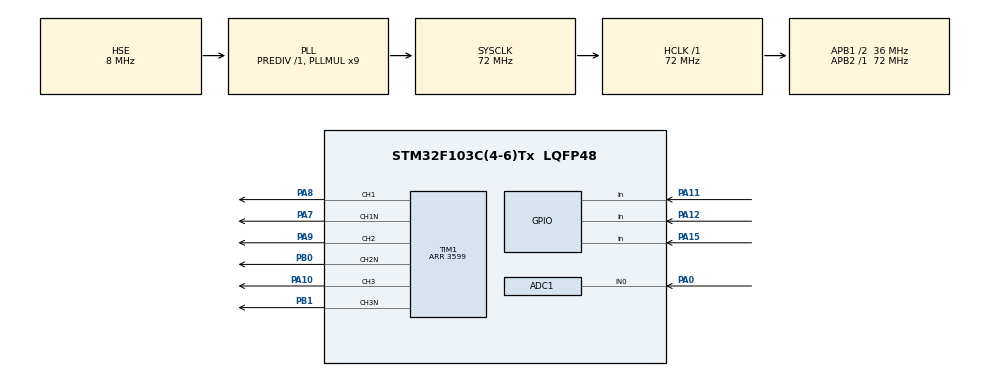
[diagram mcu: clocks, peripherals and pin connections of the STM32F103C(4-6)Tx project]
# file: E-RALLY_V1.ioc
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ADC1.Channel-1\#ChannelRegularConversion=ADC_CHANNEL_0
ADC1.ContinuousConvMode=ENABLE
ADC1.DataAlign=ADC_DATAALIGN_RIGHT
ADC1.NbrOfConversion=1
ADC1.NbrOfConversionFlag=1
ADC1.Rank-1\#ChannelRegularConversion=1
ADC1.SamplingTime-1\#ChannelRegularConversion=ADC_SAMPLETIME_239CYCLES_5
ADC1.master=1
Mcu.Family=STM32F1
Mcu.Name=STM32F103C(4-6)Tx
Mcu.Package=LQFP48
NVIC.PriorityGroup=NVIC_PRIORITYGROUP_4
PA0-WKUP.Signal=ADCx_IN0
PA10.Signal=S_TIM1_CH3
PA11.GPIO_PuPd=GPIO_PULLUP
PA11.Signal=GPIO_Input
PA12.GPIO_PuPd=GPIO_PULLUP
PA12.Signal=GPIO_Input
PA13.Mode=Serial_Wire
PA13.Signal=SYS_JTMS-SWDIO
PA14.Mode=Serial_Wire
PA14.Signal=SYS_JTCK-SWCLK
PA15.GPIO_PuPd=GPIO_PULLUP
PA15.Signal=GPIO_Input
PA7.Mode=PWM Generation1 CH1 CH1N
PA7.Signal=TIM1_CH1N
PA8.Signal=S_TIM1_CH1
PA9.Signal=S_TIM1_CH2
PB0.Mode=PWM Generation2 CH2 CH2N
PB0.Signal=TIM1_CH2N
PB1.Mode=PWM Generation3 CH3 CH3N
PB1.Signal=TIM1_CH3N
PD0-OSC_IN.Mode=HSE-External-Oscillator
PD0-OSC_IN.Signal=RCC_OSC_IN
PD1-OSC_OUT.Mode=HSE-External-Oscillator
PD1-OSC_OUT.Signal=RCC_OSC_OUT
ProjectManager.HeapSize=0x200
ProjectManager.StackSize=0x400
ProjectManager.TargetToolchain=STM32CubeIDE
RCC.ADCPresc=RCC_ADCPCLK2_DIV6
RCC.AHBFreq_Value=72000000
RCC.APB1CLKDivider=RCC_HCLK_DIV2
RCC.APB1Freq_Value=36000000
RCC.APB1TimFreq_Value=72000000
RCC.APB2Freq_Value=72000000
RCC.APB2TimFreq_Value=72000000
RCC.HCLKFreq_Value=72000000
RCC.PLLMUL=RCC_PLL_MUL9
RCC.PLLSourceVirtual=RCC_PLLSOURCE_HSE
RCC.SYSCLKFreq_VALUE=72000000
RCC.SYSCLKSource=RCC_SYSCLKSOURCE_PLLCLK
RCC.USBFreq_Value=72000000
SH.ADCx_IN0.0=ADC1_IN0,IN0
SH.S_TIM1_CH1.0=TIM1_CH1,PWM Generation1 CH1 CH1N
SH.S_TIM1_CH2.0=TIM1_CH2,PWM Generation2 CH2 CH2N
SH.S_TIM1_CH3.0=TIM1_CH3,PWM Generation3 CH3 CH3N
TIM1.Channel-PWM\ Generation1\ CH1\ CH1N=TIM_CHANNEL_1
TIM1.Channel-PWM\ Generation2\ CH2\ CH2N=TIM_CHANNEL_2
TIM1.Channel-PWM\ Generation3\ CH3\ CH3N=TIM_CHANNEL_3
TIM1.OCNPolarity_1=TIM_OCNPOLARITY_HIGH
TIM1.OCNPolarity_2=TIM_OCNPOLARITY_HIGH
TIM1.Period=3599
TIM2.Prescaler=71
VP_TIM2_VS_ClockSourceINT.Mode=Internal
board=custom

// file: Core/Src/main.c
/* USER CODE BEGIN Header */
/**
  ******************************************************************************
  * @file           : main.c
  * @brief          : Main program body
  ******************************************************************************
  * @attention
  *
  * Copyright (c) 2025 STMicroelectronics.
  * All rights reserved.
  *
  * This software is licensed under terms that can be found in the LICENSE file
  * in the root directory of this software component.
  * If no LICENSE file comes with this software, it is provided AS-IS.
  *
  ******************************************************************************
  */
/* USER CODE END Header */
#include "main.h"

/* USER CODE BEGIN Includes */

// Macros For 6 Timer Channels to be more readable
#define PHASE_A TIM_CHANNEL_1
#define PHASE_B TIM_CHANNEL_2
#define PHASE_C TIM_CHANNEL_3
// Macros for Throttle Range
#define MIN_THROTTLE 0
#define MAX_THROTTLE 3560
// Macros For PWM Signal Range
#define MAX_PWM 3599
#define MIN_PWM 0
/*
 * Macro For indicating the value at which the Low turns zero
 * 0 -> duty ( O/P = 0), duty -> LOW ( O/P = 1 )
 */
#define LOW 3599
// Macro For Dead Time Period
#define DEADTIME_DELAY 20 // Real Deadtime in microsecond
// Macro For indicating that Hall in invalid state to avoid any damage
#define INVALID_STATE 255
// Macro for Filter Size of ADC
#define ADC_FILTER_SIZE   254  // Size of the moving average window
// Static Global Variables for ADC Filter
static uint16_t adcSamples[ADC_FILTER_SIZE];
static uint8_t  adcIndex = 0;

/* USER CODE END Includes */

/* USER CODE BEGIN PD */
// Global Variables For Debugging
uint8_t  HALL_GLOBAL = 0;
uint16_t ADC_BEFORE_SAMPLING = 0;
uint16_t ADC_AFTER_SAMPLING = 0;
uint16_t ADC_MAPPING = 0;
// Global Variable For Motor Position
uint8_t  Recent_state = 0;
uint8_t  Prev_state = INVALID_STATE;
/* USER CODE END PD */

ADC_HandleTypeDef hadc1;

TIM_HandleTypeDef htim1;
TIM_HandleTypeDef htim2;

void SystemClock_Config(void);
static void MX_GPIO_Init(void);
static void MX_TIM1_Init(void);
static void MX_ADC1_Init(void);
static void MX_TIM2_Init(void);

/* USER CODE BEGIN 0 */

uint8_t Read_Hall_Sensors(void)
{
	// Read Hall Sensors FeedBack Signal
	uint8_t h3= HAL_GPIO_ReadPin(GPIOA, GPIO_PIN_11);
	uint8_t h2= HAL_GPIO_ReadPin(GPIOA, GPIO_PIN_12);
	uint8_t h1= HAL_GPIO_ReadPin(GPIOA, GPIO_PIN_15);
	// Shift Values to be in one variable for Checking
	uint8_t hall_value = h3<<2 | h2<<1 | h1<<0;
	// Check Values of Hall Sensor Reading ( For Debugging )
	HALL_GLOBAL = hall_value;
	return hall_value;
}

//void CheckState(uint16_t duty)
//{
//	if (duty > 3599) {
//		duty = 3599; // Clamp near 100% duty to avoid bootstrap capacitor issues
//	}
//	Recent_state = hallState;
//
//	if (Recent_state != Prev_state || Recent_state == INVALID_STATE) {
//		safeDisableOutputs(); // Unified handling for state change or invalid state
//		if (new_state != INVALID_STATE) {
//			old_state = hallState; // Only update old_state if valid
//		}
//	}
//}

void Disable_Switches()
{
	TIM1->CCR1 = 0;
	TIM1->CCR2 = 0;
	TIM1->CCR3 = 0;

	HAL_TIM_PWM_Stop(&htim1, PHASE_A);  // A_HIGH A8
	HAL_TIM_PWM_Stop(&htim1, PHASE_B);  // B_HIGH A9
	HAL_TIM_PWM_Stop(&htim1, PHASE_C);  // C_HIGH A10

	HAL_TIMEx_PWMN_Stop(&htim1, PHASE_A); // A_LOW A7
	HAL_TIMEx_PWMN_Stop(&htim1, PHASE_B); // B_LOW B0
	HAL_TIMEx_PWMN_Stop(&htim1, PHASE_C); // C_LOW B1
}

uint16_t Throttle_mapping(uint16_t Value, uint16_t ADC_Min, uint16_t ADC_Max, uint16_t Min_PWM, uint16_t Max_PWM)
{
	if(Value > ADC_Max)
	{
		Value = ADC_Max;
	}
	else if (Value < ADC_Min)
	{
		Value = ADC_Min;
	}
	return (uint16_t)((Value - ADC_Min) * (Max_PWM - Min_PWM) / (ADC_Max - ADC_Min) + Min_PWM);
}

void Step1(uint16_t duty)
{
	TIM1->CCR1 = duty; // A
	TIM1->CCR2 = LOW;  // B
	TIM1->CCR3 = 0;    // C

	HAL_TIM_PWM_Start(&htim1, PHASE_A); 	  // A_HIGH A8

	HAL_TIMEx_PWMN_Start(&htim1, PHASE_B);    // B_LOW B0
}
void Step2(uint16_t duty)
{
	TIM1->CCR1 = duty;   // A
	TIM1->CCR2 = 0;      // B
	TIM1->CCR3 = LOW;    // C

	HAL_TIM_PWM_Start(&htim1, PHASE_A);       // A_HIGH A0

	HAL_TIMEx_PWMN_Start(&htim1, PHASE_C);    // C_LOW B1
}
void Step3(uint16_t duty)
{
	TIM1->CCR1 = 0;      // A
	TIM1->CCR2 = duty;   // B
	TIM1->CCR3 = LOW;    // C

	HAL_TIM_PWM_Start(&htim1, PHASE_B);       // B_HIGH A1

	HAL_TIMEx_PWMN_Start(&htim1, PHASE_C);    // C_LOW B1
}
void Step4(uint16_t duty)
{
	TIM1->CCR1 = LOW;      // A
	TIM1->CCR2 = duty;     // B
	TIM1->CCR3 = 0;        // C

	HAL_TIM_PWM_Start(&htim1, PHASE_B);  // B_HIGH A1

	HAL_TIMEx_PWMN_Start(&htim1, PHASE_A);   // A_LOW A7

}
void Step5(uint16_t duty)
{
	TIM1->CCR1 = LOW;      // A
	TIM1->CCR2 = 0;        // B
	TIM1->CCR3 = duty;     // C

	HAL_TIM_PWM_Start(&htim1, PHASE_C);  // C_HIGH A2

	HAL_TIMEx_PWMN_Start(&htim1, PHASE_A);     // A_LOW A7

}
void Step6(uint16_t duty)
{
	TIM1->CCR1 = 0;        // A
	TIM1->CCR2 = LOW;      // B
	TIM1->CCR3 = duty;     // C

	HAL_TIM_PWM_Start(&htim1, PHASE_C);  // C_HIGH A2

	HAL_TIMEx_PWMN_Start(&htim1, PHASE_B);     // B_LOW A6
}

// Assumes 72 MHz system clock
void deadTimeDelay(uint32_t us) {
	__HAL_TIM_SET_COUNTER(&htim2, 0); // Reset the timer counter
	while (__HAL_TIM_GET_COUNTER(&htim2) < us); // Wait until the counter reaches the delay value
}

void safeDisableOutputs(uint16_t DeadTime)
{
	Disable_Switches();
//	HAL_Delay(500);
	deadTimeDelay(DeadTime);
}

void Control_BLDC(uint8_t hall, uint16_t ADC_TO_PWM)
{
	  switch (hall)
	  {
	    case 0b101:  // Hall = 5 → Step1
	      Step1(ADC_TO_PWM);
	      break;
	    case 0b100:  // Step2
	      Step2(ADC_TO_PWM);
	      break;
	    case 0b110:  // Step3
	      Step3(ADC_TO_PWM);
	      break;
	    case 0b010:  // Step4
	      Step4(ADC_TO_PWM);
	      break;
	    case 0b011:  // Step5
	      Step5(ADC_TO_PWM);
	      break;
	    case 0b001:  // Step6
	      Step6(ADC_TO_PWM);
	      break;
	    default:
	    	 Disable_Switches();
	      break;
	  }
	  // Disable Switches for Dead Time to make sure that High & Low of each phase won't open together ( For Safety )
//	  safeDisableOutputs(DEADTIME_DELAY);
}

uint16_t ADC_Sampling(uint16_t ADC_Before)
{
	// Insert new sample into moving-average buffer
	adcSamples[adcIndex] = ADC_Before;
	adcIndex = (adcIndex + 1) % ADC_FILTER_SIZE;

	// Compute average of the buffer
	uint32_t sum = 0;
	for(uint16_t i = 0; i < ADC_FILTER_SIZE; i++) {
		sum += adcSamples[i];
	}
	return (uint16_t)(sum / ADC_FILTER_SIZE);
}

uint16_t StartADC(uint32_t TimeOut)
{
	// Start and Convert Analog Throttle Signal To Digital To be handled
	HAL_ADC_Start(&hadc1);
	HAL_ADC_PollForConversion(&hadc1, TimeOut);
	return HAL_ADC_GetValue(&hadc1);
}

void CheckState(uint8_t HALL_State)
{
	  if( Recent_state != Prev_state || Recent_state == INVALID_STATE )
	  {
		  safeDisableOutputs(DEADTIME_DELAY); // Unified handling for state change or invalid state
		  if(Recent_state != INVALID_STATE)
		  {
			  Prev_state = HALL_State; // Only update old_state if valid
		  }
	  }
}

/* USER CODE END 0 */

int main(void)
{

  /* MCU Configuration--------------------------------------------------------*/

  /* Reset of all peripherals, Initializes the Flash interface and the Systick. */
  HAL_Init();

  /* Configure the system clock */
  SystemClock_Config();

  /* Initialize all configured peripherals */
  MX_GPIO_Init();
  MX_TIM1_Init();
  MX_ADC1_Init();
  MX_TIM2_Init();
  /* USER CODE BEGIN 2 */
  uint16_t ADCValue;
  uint16_t AdcMapp;
  uint16_t ADC_Sampled;
  uint8_t hall;
  /* USER CODE END 2 */

  /* Infinite loop */
  /* USER CODE BEGIN WHILE */
  while (1)
  {
	  // Start and read ADC (once)
	  ADCValue = StartADC(100);
	  // Check Values of ADC Before Sampling ( For Debugging )
	  ADC_BEFORE_SAMPLING = ADCValue;
	  //Sample / Filter The ADC Values to check the best one and reduce the noise
	  ADC_Sampled = ADC_Sampling(ADCValue);
	  // Check That Max & Min Values of sampled within Range of Throttle
	  if(ADC_Sampled < MIN_THROTTLE)
	  {
		  ADC_Sampled = MIN_THROTTLE;
	  }
	  if (ADC_Sampled > MAX_THROTTLE)
	  {
		  ADC_Sampled = MAX_THROTTLE;
	  }
	  // Check Values of ADC After Sampling ( For Debugging )
	  ADC_AFTER_SAMPLING = ADC_Sampled;
	  // Mapping the Throttle Value from Throttle Rang to Used PWM Range To Control Duty Cycle of PWM
	  AdcMapp = Throttle_mapping(ADC_Sampled, MIN_THROTTLE, MAX_THROTTLE, MIN_PWM, MAX_PWM);
	  // Check Values of Throttle Mapping ( For Debugging )
	  ADC_MAPPING = AdcMapp;
	  // Read Hall Sensor State ( Hall Sensor Feedback )
	  hall = Read_Hall_Sensors();
	  Recent_state = hall;
	  // Check Hall State
	  CheckState(hall);
	  /*
	   * ControlLing BLDC Motor By using two parameters ( Arguments )
	   * AdcMapp -> Control the speed of Motor and the switching of each MOSFETS
	   * hall -> FeedBack of Hall indicate the rotor position to take the right action ( Step ) to control motor
	   *
	   */
	  Control_BLDC(hall, AdcMapp);

    /* USER CODE END WHILE */

  }
}

void SystemClock_Config(void)
{
  RCC_OscInitTypeDef RCC_OscInitStruct = {0};
  RCC_ClkInitTypeDef RCC_ClkInitStruct = {0};
  RCC_PeriphCLKInitTypeDef PeriphClkInit = {0};

  /** Initializes the RCC Oscillators according to the specified parameters
  * in the RCC_OscInitTypeDef structure.
  */
  RCC_OscInitStruct.OscillatorType = RCC_OSCILLATORTYPE_HSE;
  RCC_OscInitStruct.HSEState = RCC_HSE_ON;
  RCC_OscInitStruct.HSEPredivValue = RCC_HSE_PREDIV_DIV1;
  RCC_OscInitStruct.HSIState = RCC_HSI_ON;
  RCC_OscInitStruct.PLL.PLLState = RCC_PLL_ON;
  RCC_OscInitStruct.PLL.PLLSource = RCC_PLLSOURCE_HSE;
  RCC_OscInitStruct.PLL.PLLMUL = RCC_PLL_MUL9;
  if (HAL_RCC_OscConfig(&RCC_OscInitStruct) != HAL_OK)
  {
    Error_Handler();
  }

  /** Initializes the CPU, AHB and APB buses clocks
  */
  RCC_ClkInitStruct.ClockType = RCC_CLOCKTYPE_HCLK|RCC_CLOCKTYPE_SYSCLK
                              |RCC_CLOCKTYPE_PCLK1|RCC_CLOCKTYPE_PCLK2;
  RCC_ClkInitStruct.SYSCLKSource = RCC_SYSCLKSOURCE_PLLCLK;
  RCC_ClkInitStruct.AHBCLKDivider = RCC_SYSCLK_DIV1;
  RCC_ClkInitStruct.APB1CLKDivider = RCC_HCLK_DIV2;
  RCC_ClkInitStruct.APB2CLKDivider = RCC_HCLK_DIV1;

  if (HAL_RCC_ClockConfig(&RCC_ClkInitStruct, FLASH_LATENCY_2) != HAL_OK)
  {
    Error_Handler();
  }
  PeriphClkInit.PeriphClockSelection = RCC_PERIPHCLK_ADC;
  PeriphClkInit.AdcClockSelection = RCC_ADCPCLK2_DIV6;
  if (HAL_RCCEx_PeriphCLKConfig(&PeriphClkInit) != HAL_OK)
  {
    Error_Handler();
  }
}

static void MX_ADC1_Init(void)
{

  ADC_ChannelConfTypeDef sConfig = {0};

  /** Common config
  */
  hadc1.Instance = ADC1;
  hadc1.Init.ScanConvMode = ADC_SCAN_DISABLE;
  hadc1.Init.ContinuousConvMode = ENABLE;
  hadc1.Init.DiscontinuousConvMode = DISABLE;
  hadc1.Init.ExternalTrigConv = ADC_SOFTWARE_START;
  hadc1.Init.DataAlign = ADC_DATAALIGN_RIGHT;
  hadc1.Init.NbrOfConversion = 1;
  if (HAL_ADC_Init(&hadc1) != HAL_OK)
  {
    Error_Handler();
  }

  /** Configure Regular Channel
  */
  sConfig.Channel = ADC_CHANNEL_0;
  sConfig.Rank = ADC_REGULAR_RANK_1;
  sConfig.SamplingTime = ADC_SAMPLETIME_239CYCLES_5;
  if (HAL_ADC_ConfigChannel(&hadc1, &sConfig) != HAL_OK)
  {
    Error_Handler();
  }

}

static void MX_TIM1_Init(void)
{

  TIM_MasterConfigTypeDef sMasterConfig = {0};
  TIM_OC_InitTypeDef sConfigOC = {0};
  TIM_BreakDeadTimeConfigTypeDef sBreakDeadTimeConfig = {0};

  htim1.Instance = TIM1;
  htim1.Init.Prescaler = 0;
  htim1.Init.CounterMode = TIM_COUNTERMODE_UP;
  htim1.Init.Period = 3599;
  htim1.Init.ClockDivision = TIM_CLOCKDIVISION_DIV1;
  htim1.Init.RepetitionCounter = 0;
  htim1.Init.AutoReloadPreload = TIM_AUTORELOAD_PRELOAD_DISABLE;
  if (HAL_TIM_PWM_Init(&htim1) != HAL_OK)
  {
    Error_Handler();
  }
  sMasterConfig.MasterOutputTrigger = TIM_TRGO_RESET;
  sMasterConfig.MasterSlaveMode = TIM_MASTERSLAVEMODE_DISABLE;
  if (HAL_TIMEx_MasterConfigSynchronization(&htim1, &sMasterConfig) != HAL_OK)
  {
    Error_Handler();
  }
  sConfigOC.OCMode = TIM_OCMODE_PWM1;
  sConfigOC.Pulse = 0;
  sConfigOC.OCPolarity = TIM_OCPOLARITY_HIGH;
  sConfigOC.OCNPolarity = TIM_OCNPOLARITY_HIGH;
  sConfigOC.OCFastMode = TIM_OCFAST_DISABLE;
  sConfigOC.OCIdleState = TIM_OCIDLESTATE_RESET;
  sConfigOC.OCNIdleState = TIM_OCNIDLESTATE_RESET;
  if (HAL_TIM_PWM_ConfigChannel(&htim1, &sConfigOC, TIM_CHANNEL_1) != HAL_OK)
  {
    Error_Handler();
  }
  if (HAL_TIM_PWM_ConfigChannel(&htim1, &sConfigOC, TIM_CHANNEL_2) != HAL_OK)
  {
    Error_Handler();
  }
  if (HAL_TIM_PWM_ConfigChannel(&htim1, &sConfigOC, TIM_CHANNEL_3) != HAL_OK)
  {
    Error_Handler();
  }
  sBreakDeadTimeConfig.OffStateRunMode = TIM_OSSR_DISABLE;
  sBreakDeadTimeConfig.OffStateIDLEMode = TIM_OSSI_DISABLE;
  sBreakDeadTimeConfig.LockLevel = TIM_LOCKLEVEL_OFF;
  sBreakDeadTimeConfig.DeadTime = 0;
  sBreakDeadTimeConfig.BreakState = TIM_BREAK_DISABLE;
  sBreakDeadTimeConfig.BreakPolarity = TIM_BREAKPOLARITY_HIGH;
  sBreakDeadTimeConfig.AutomaticOutput = TIM_AUTOMATICOUTPUT_DISABLE;
  if (HAL_TIMEx_ConfigBreakDeadTime(&htim1, &sBreakDeadTimeConfig) != HAL_OK)
  {
    Error_Handler();
  }
  HAL_TIM_MspPostInit(&htim1);

}

static void MX_TIM2_Init(void)
{

  TIM_ClockConfigTypeDef sClockSourceConfig = {0};
  TIM_MasterConfigTypeDef sMasterConfig = {0};

  htim2.Instance = TIM2;
  htim2.Init.Prescaler = 71;
  htim2.Init.CounterMode = TIM_COUNTERMODE_UP;
  htim2.Init.Period = 65535;
  htim2.Init.ClockDivision = TIM_CLOCKDIVISION_DIV1;
  htim2.Init.AutoReloadPreload = TIM_AUTORELOAD_PRELOAD_DISABLE;
  if (HAL_TIM_Base_Init(&htim2) != HAL_OK)
  {
    Error_Handler();
  }
  sClockSourceConfig.ClockSource = TIM_CLOCKSOURCE_INTERNAL;
  if (HAL_TIM_ConfigClockSource(&htim2, &sClockSourceConfig) != HAL_OK)
  {
    Error_Handler();
  }
  sMasterConfig.MasterOutputTrigger = TIM_TRGO_RESET;
  sMasterConfig.MasterSlaveMode = TIM_MASTERSLAVEMODE_DISABLE;
  if (HAL_TIMEx_MasterConfigSynchronization(&htim2, &sMasterConfig) != HAL_OK)
  {
    Error_Handler();
  }
  /* USER CODE BEGIN TIM2_Init 2 */

  HAL_TIM_Base_Start(&htim2); // Start Timer 2

  /* USER CODE END TIM2_Init 2 */

}

static void MX_GPIO_Init(void)
{
  GPIO_InitTypeDef GPIO_InitStruct = {0};

  /* GPIO Ports Clock Enable */
  __HAL_RCC_GPIOD_CLK_ENABLE();
  __HAL_RCC_GPIOA_CLK_ENABLE();
  __HAL_RCC_GPIOB_CLK_ENABLE();

  /*Configure GPIO pins : PA11 PA12 PA15 */
  GPIO_InitStruct.Pin = GPIO_PIN_11|GPIO_PIN_12|GPIO_PIN_15;
  GPIO_InitStruct.Mode = GPIO_MODE_INPUT;
  GPIO_InitStruct.Pull = GPIO_PULLUP;
  HAL_GPIO_Init(GPIOA, &GPIO_InitStruct);

}

void Error_Handler(void)
{
  __disable_irq();
  while (1)
  {
  }
}
